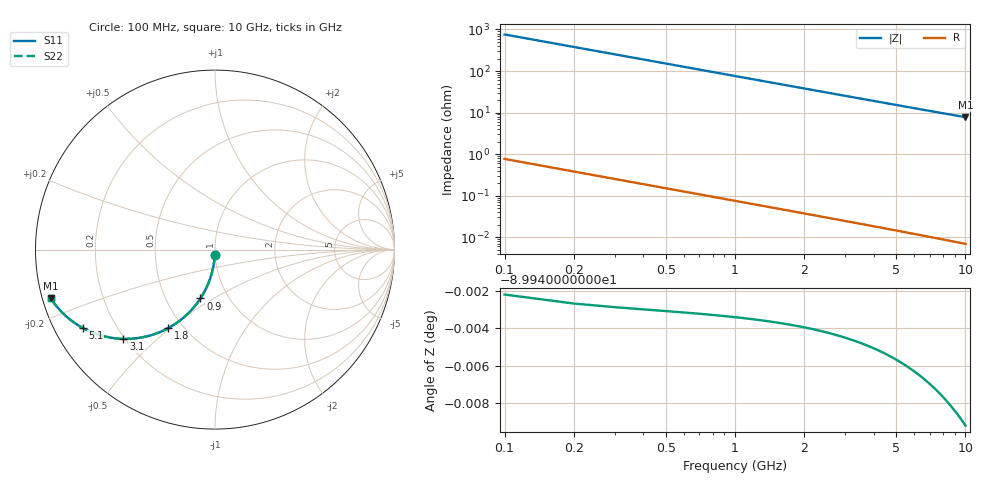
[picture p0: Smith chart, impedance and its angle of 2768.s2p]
# Hz S RI R 50.00
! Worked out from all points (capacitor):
!   100 points, 100 MHz to 10 GHz, reference 50 ohm
!   read as one part in shunt: C = 2.1 pF near 100 MHz
!   lowest |Z| = 7.74 ohm at 10 GHz (marker M1)
!   S11 on the Smith chart (normalised r, x): 100 MHz: 1.00, -0.07; 900 MHz: 0.74, -0.44; 1.8 GHz: 0.42, -0.49; 3.1 GHz: 0.19, -0.39; 5.1 GHz: 0.08, -0.27; 10 GHz: 0.02, -0.14
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1e8  -0.00108 -0.0329  0.9988 -0.033  0.9988 -0.033  -0.00108 -0.0329
2e8  -0.00436 -0.0655  0.9956 -0.0658  0.9956 -0.0658  -0.00436 -0.0655
3e8  -0.00975 -0.0977  0.9902 -0.0981  0.9902 -0.0981  -0.00975 -0.0977
4e8  -0.0172 -0.1293  0.9827 -0.1299  0.9827 -0.1299  -0.0172 -0.1293
5e8  -0.0266 -0.1601  0.9734 -0.1608  0.9734 -0.1608  -0.0266 -0.1601
6e8  -0.0378 -0.1899  0.9621 -0.1907  0.9621 -0.1907  -0.0378 -0.1899
7e8  -0.0507 -0.2186  0.9492 -0.2195  0.9492 -0.2195  -0.0507 -0.2186
9e8  -0.0811 -0.272  0.9188 -0.2731  0.9188 -0.2731  -0.0811 -0.272
1.1e9  -0.1164 -0.3196  0.8835 -0.321  0.8835 -0.321  -0.1164 -0.3196
1.3e9  -0.1554 -0.361  0.8446 -0.3626  0.8446 -0.3626  -0.1554 -0.361
1.5e9  -0.1967 -0.396  0.8033 -0.398  0.8033 -0.398  -0.1967 -0.396
1.8e9  -0.2605 -0.4373  0.7394 -0.4396  0.7394 -0.4396  -0.2605 -0.4373
2.1e9  -0.324 -0.4662  0.6759 -0.4689  0.6759 -0.4689  -0.324 -0.4662
2.4e9  -0.3849 -0.4845  0.615 -0.4876  0.615 -0.4876  -0.3849 -0.4845
3.1e9  -0.5106 -0.4974  0.4893 -0.5014  0.4893 -0.5014  -0.5106 -0.4974
3.4e9  -0.5565 -0.4941  0.4434 -0.4985  0.4434 -0.4985  -0.5565 -0.4941
4.2e9  -0.6567 -0.4716  0.3432 -0.477  0.3432 -0.477  -0.6567 -0.4716
5.1e9  -0.7382 -0.4358  0.2617 -0.4424  0.2617 -0.4424  -0.7382 -0.4358
5.9e9  -0.7905 -0.4026  0.2094 -0.4103  0.2094 -0.4103  -0.7905 -0.4026
6.7e9  -0.8295 -0.3712  0.1704 -0.3799  0.1704 -0.3799  -0.8295 -0.3712
8.4e9  -0.8844 -0.3137  0.1155 -0.3247  0.1155 -0.3247  -0.8844 -0.3137
1e10  -0.9156 -0.2708  0.0842 -0.2839  0.0842 -0.2839  -0.9156 -0.2708
